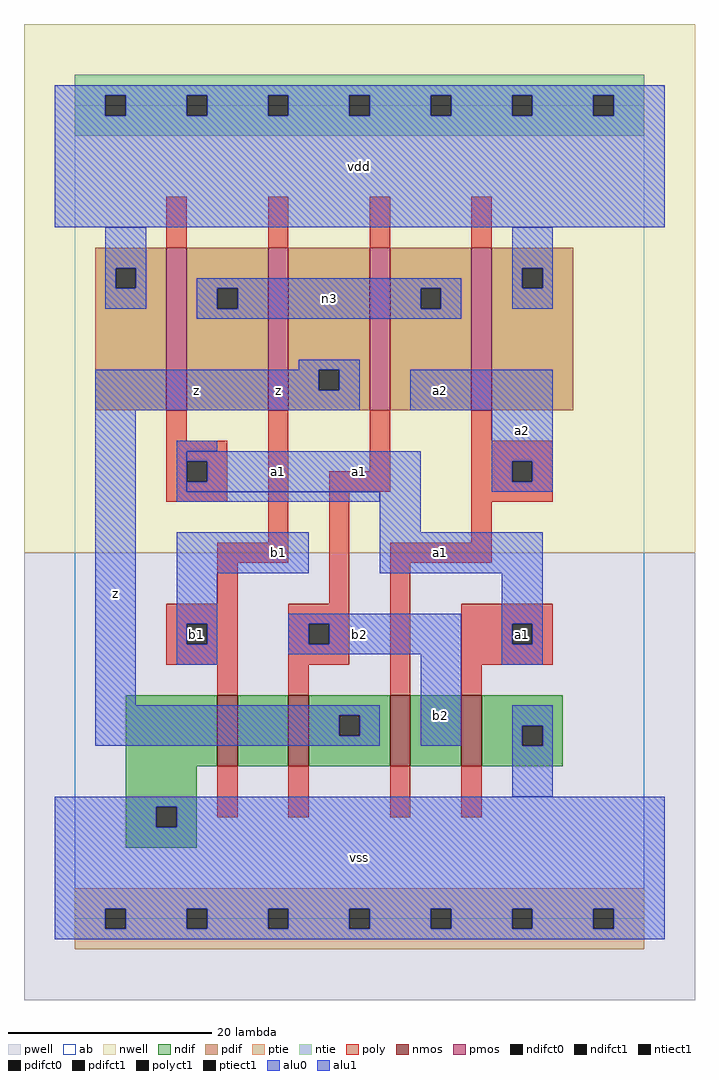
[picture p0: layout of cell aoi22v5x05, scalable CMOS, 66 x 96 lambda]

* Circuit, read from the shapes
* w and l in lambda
.subckt aoi22v5x05 a1 a2 b1 b2 n3 vdd vss z
M1 n1 b1 vss vss nfet w=7 l=2
M2 z b2 n1 vss nfet w=7 l=2
M3 n2 a2 z vss nfet w=7 l=2
M4 vss a1 n2 vss nfet w=7 l=2
M5 n3 a1 vdd vdd pfet w=16 l=2
M6 z b1 n3 vdd pfet w=16 l=2
M7 n3 b2 z vdd pfet w=16 l=2
M8 vdd a2 n3 vdd pfet w=16 l=2
.ends

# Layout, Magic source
magic
tech scmos
<< ab >>
rect 0 0 56 80
<< nwell >>
rect -5 36 61 88
<< pwell >>
rect -5 -8 61 36
<< poly >>
rect 9 66 11 71
rect 19 66 21 71
rect 29 66 31 71
rect 39 66 41 71
rect 9 47 11 50
rect 9 45 15 47
rect 9 43 11 45
rect 13 43 15 45
rect 9 41 15 43
rect 19 37 21 50
rect 29 44 31 50
rect 14 35 21 37
rect 25 42 31 44
rect 39 47 41 50
rect 39 45 47 47
rect 39 43 43 45
rect 45 43 47 45
rect 14 31 16 35
rect 25 31 27 42
rect 39 41 47 43
rect 39 37 41 41
rect 9 29 16 31
rect 9 27 11 29
rect 13 27 16 29
rect 9 25 16 27
rect 14 22 16 25
rect 21 29 27 31
rect 21 27 23 29
rect 25 27 27 29
rect 21 25 27 27
rect 31 35 41 37
rect 21 22 23 25
rect 31 22 33 35
rect 38 29 47 31
rect 38 27 43 29
rect 45 27 47 29
rect 38 25 47 27
rect 38 22 40 25
rect 14 10 16 15
rect 21 10 23 15
rect 31 10 33 15
rect 38 10 40 15
<< ndif >>
rect 5 15 14 22
rect 16 15 21 22
rect 23 20 31 22
rect 23 18 26 20
rect 28 18 31 20
rect 23 15 31 18
rect 33 15 38 22
rect 40 19 48 22
rect 40 17 44 19
rect 46 17 48 19
rect 40 15 48 17
rect 5 11 12 15
rect 5 9 8 11
rect 10 9 12 11
rect 5 7 12 9
<< pdif >>
rect 2 64 9 66
rect 2 62 4 64
rect 6 62 9 64
rect 2 50 9 62
rect 11 62 19 66
rect 11 60 14 62
rect 16 60 19 62
rect 11 50 19 60
rect 21 54 29 66
rect 21 52 24 54
rect 26 52 29 54
rect 21 50 29 52
rect 31 62 39 66
rect 31 60 34 62
rect 36 60 39 62
rect 31 50 39 60
rect 41 64 49 66
rect 41 62 44 64
rect 46 62 49 64
rect 41 50 49 62
<< alu1 >>
rect -2 81 58 82
rect -2 79 3 81
rect 5 79 11 81
rect 13 79 19 81
rect 21 79 27 81
rect 29 79 35 81
rect 37 79 43 81
rect 45 79 51 81
rect 53 79 58 81
rect -2 68 58 79
rect 22 54 28 55
rect 2 52 24 54
rect 26 52 28 54
rect 2 50 28 52
rect 33 50 47 54
rect 2 21 6 50
rect 11 45 34 46
rect 13 43 34 45
rect 11 42 34 43
rect 41 45 47 50
rect 41 43 43 45
rect 45 43 47 45
rect 41 42 47 43
rect 30 38 34 42
rect 10 34 23 38
rect 30 34 46 38
rect 10 29 14 34
rect 10 27 11 29
rect 13 27 14 29
rect 10 25 14 27
rect 21 29 38 30
rect 21 27 23 29
rect 25 27 38 29
rect 21 26 38 27
rect 2 20 30 21
rect 2 18 26 20
rect 28 18 30 20
rect 2 17 30 18
rect 34 17 38 26
rect 42 29 46 34
rect 42 27 43 29
rect 45 27 46 29
rect 42 25 46 27
rect -2 11 58 12
rect -2 9 8 11
rect 10 9 58 11
rect -2 1 58 9
rect -2 -1 3 1
rect 5 -1 11 1
rect 13 -1 19 1
rect 21 -1 27 1
rect 29 -1 35 1
rect 37 -1 43 1
rect 45 -1 51 1
rect 53 -1 58 1
rect -2 -2 58 -1
<< ptie >>
rect 0 1 56 3
rect 0 -1 3 1
rect 5 -1 11 1
rect 13 -1 19 1
rect 21 -1 27 1
rect 29 -1 35 1
rect 37 -1 43 1
rect 45 -1 51 1
rect 53 -1 56 1
rect 0 -3 56 -1
<< ntie >>
rect 0 81 56 83
rect 0 79 3 81
rect 5 79 11 81
rect 13 79 19 81
rect 21 79 27 81
rect 29 79 35 81
rect 37 79 43 81
rect 45 79 51 81
rect 53 79 56 81
rect 0 77 56 79
<< nmos >>
rect 14 15 16 22
rect 21 15 23 22
rect 31 15 33 22
rect 38 15 40 22
<< pmos >>
rect 9 50 11 66
rect 19 50 21 66
rect 29 50 31 66
rect 39 50 41 66
<< polyct1 >>
rect 11 43 13 45
rect 43 43 45 45
rect 11 27 13 29
rect 23 27 25 29
rect 43 27 45 29
<< ndifct0 >>
rect 44 17 46 19
<< ndifct1 >>
rect 26 18 28 20
rect 8 9 10 11
<< ntiect1 >>
rect 3 79 5 81
rect 11 79 13 81
rect 19 79 21 81
rect 27 79 29 81
rect 35 79 37 81
rect 43 79 45 81
rect 51 79 53 81
<< ptiect1 >>
rect 3 -1 5 1
rect 11 -1 13 1
rect 19 -1 21 1
rect 27 -1 29 1
rect 35 -1 37 1
rect 43 -1 45 1
rect 51 -1 53 1
<< pdifct0 >>
rect 4 62 6 64
rect 14 60 16 62
rect 34 60 36 62
rect 44 62 46 64
<< pdifct1 >>
rect 24 52 26 54
<< alu0 >>
rect 3 64 7 68
rect 3 62 4 64
rect 6 62 7 64
rect 43 64 47 68
rect 3 60 7 62
rect 12 62 38 63
rect 12 60 14 62
rect 16 60 34 62
rect 36 60 38 62
rect 43 62 44 64
rect 46 62 47 64
rect 43 60 47 62
rect 12 59 38 60
rect 10 46 14 47
rect 10 42 11 46
rect 10 41 30 42
rect 43 19 47 21
rect 43 17 44 19
rect 46 17 47 19
rect 43 12 47 17
<< labels >>
rlabel alu0 25 61 25 61 6 n3
rlabel alu1 4 32 4 32 6 z
rlabel polyct1 12 28 12 28 6 b1
rlabel alu1 20 36 20 36 6 b1
rlabel alu1 20 44 20 44 6 a1
rlabel alu1 12 52 12 52 6 z
rlabel alu1 20 52 20 52 6 z
rlabel alu1 28 6 28 6 6 vss
rlabel alu1 36 20 36 20 6 b2
rlabel alu1 28 28 28 28 6 b2
rlabel alu1 36 36 36 36 6 a1
rlabel alu1 28 44 28 44 6 a1
rlabel alu1 36 52 36 52 6 a2
rlabel alu1 28 74 28 74 6 vdd
rlabel polyct1 44 28 44 28 6 a1
rlabel alu1 44 48 44 48 6 a2
<< end >>
